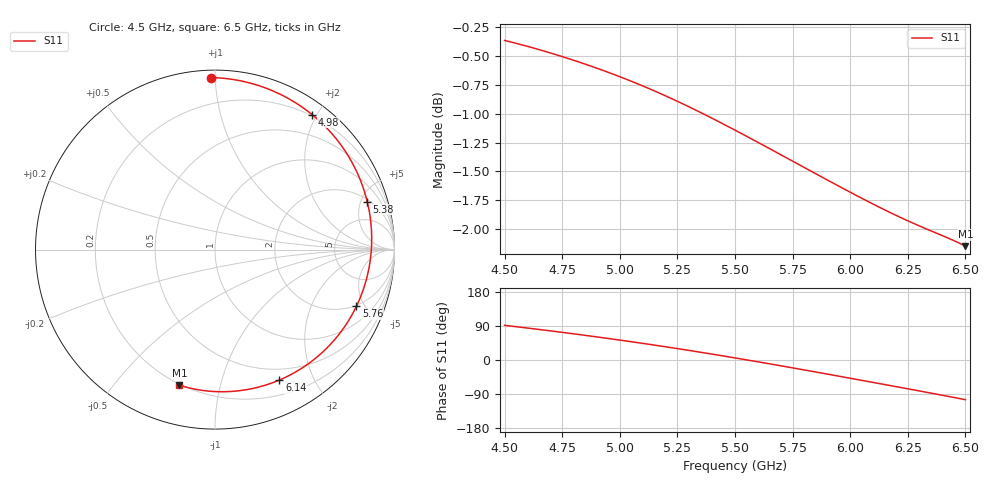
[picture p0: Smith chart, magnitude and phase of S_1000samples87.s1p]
! TOUCHSTONE file generated by CST MICROWAVE STUDIO
! Date and time: Wed Oct 26 23:03:04 2022
! Project name: L.cst
! Parameters = {Di=1.27; Epsilon_r=1.56; InnerDiameter=1.27; Length=2; Lf=10; Lg=60; OuterConductorThickness=0.2921; OuterDiameter=3.6; Wf=3; Wp=41.2; de=1.5; df=6.8; g=0.8; gx=2.51555; gy=3.56164; h=2.34; hf=1.524; px=8.79564; py=12.5507; w=9.7; wx=6.2801; wy=8.98902}
! Header version: 2018
! Port assignment regex: !\s*Touchstone port\s*([0-9]+)\s*=\s*(CST MWS port|CST DS port)\s*([0-9]+|Zmin|Zmax)\s*\(\"(.*)\"\)(\s*mode\s*([0-9]+))?.*
! Touchstone port assignment:
! Touchstone port 1 = CST MWS port 1 ("")
# GHz S DB R 50
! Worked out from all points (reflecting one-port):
!   101 points, 4.5 GHz to 6.5 GHz, reference 50 ohm
!   lowest |S11| = -2.1 dB at 6.5 GHz (marker M1), VSWR 8.12, Z = 9.73 - j37.6 ohm
!   phase of S11 starts at 91 deg and turns -196 deg over the sweep
!   S11 on the Smith chart (normalised r, x): 4.5 GHz: 0.04, +0.97; 4.98 GHz: 0.18, +1.94; 5.38 GHz: 2.20, +5.65; 5.76 GHz: 1.93, -4.36; 6.14 GHz: 0.37, -1.55; 6.5 GHz: 0.19, -0.75
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4.5  -0.36 91.4
4.64  -0.44 81.3
4.76  -0.51 72.1
4.88  -0.59 62.6
4.98  -0.66 54.2
5  -0.68 52.5
5.12  -0.78 42.0
5.2  -0.85 34.7
5.26  -0.90 29.1
5.32  -0.96 23.4
5.38  -1.02 17.5
5.44  -1.08 11.6
5.5  -1.14 5.5
5.56  -1.21 -0.7
5.62  -1.27 -6.9
5.68  -1.34 -13.3
5.76  -1.42 -21.9
5.82  -1.49 -28.4
5.88  -1.55 -34.9
6  -1.68 -48.2
6.08  -1.76 -57.1
6.14  -1.82 -63.7
6.2  -1.88 -70.4
6.26  -1.94 -77.1
6.32  -1.99 -83.9
6.38  -2.04 -90.7
6.44  -2.09 -97.6
6.5  -2.15 -104.7
